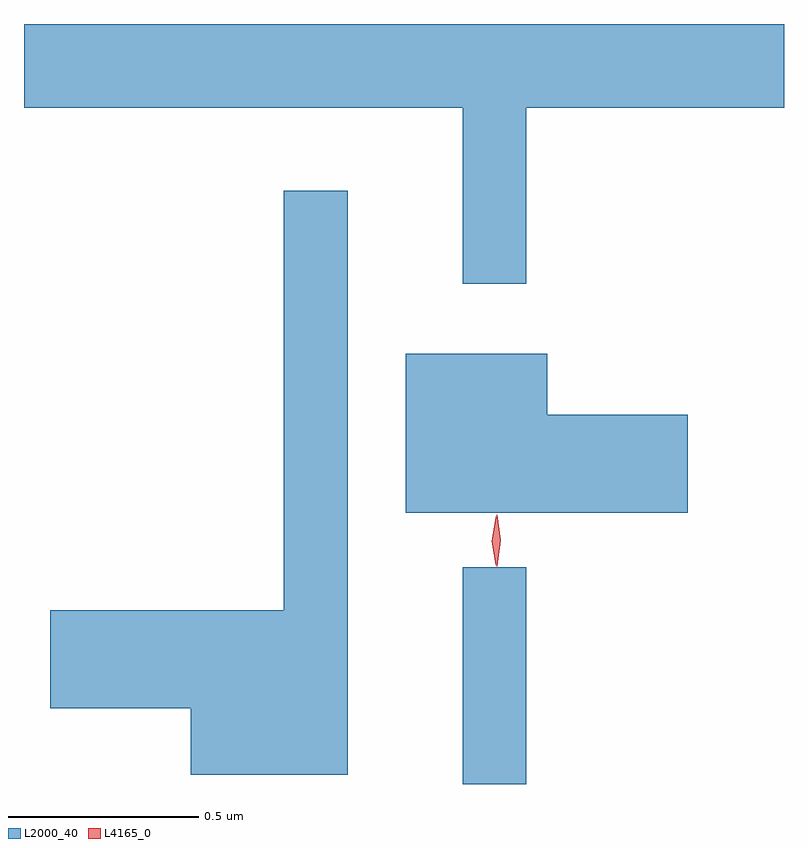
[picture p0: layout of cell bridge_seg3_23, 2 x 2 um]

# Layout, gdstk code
import gdstk
lib = gdstk.Library(unit=1e-6, precision=1e-09)
def R(c, l, rs):  # rectangles x0, y0, x1, y1
    for r in rs: c.add(gdstk.rectangle(r[:2], r[2:], *l))
def P(c, l, *ps):  # polygons
    for p in ps: c.add(gdstk.Polygon(p, *l))
L2000_40 = (2000, 40)
L4165_0 = (4165, 0)

bridge_seg3_23 = lib.new_cell('bridge_seg3_23')
R(bridge_seg3_23, L2000_40, [(1307.141,1177.517,1307.309,1178.088)])
P(bridge_seg3_23, L2000_40, [(1307.309,1179.296),(1307.987,1179.296),(1307.987,1179.517),(1305.987,1179.517),(1305.987,1179.296),(1307.141,1179.296),(1307.141,1178.833),(1307.309,1178.833)],
  [(1306.839,1179.078),(1306.671,1179.078),(1306.671,1177.974),(1306.056,1177.974),(1306.056,1177.716),(1306.426,1177.716),(1306.426,1177.541),(1306.839,1177.541)],
  [(1307.734,1178.489),(1307.364,1178.489),(1307.364,1178.649),(1306.991,1178.649),(1306.991,1178.231),(1307.734,1178.231)])
P(bridge_seg3_23, L4165_0, [(1307.231,1178.09),(1307.222,1178.158),(1307.231,1178.225),(1307.232,1178.226),(1307.232,1178.225),(1307.242,1178.158),(1307.232,1178.09),(1307.232,1178.09)],
  [(1307.228,1178.093),(1307.228,1178.093),(1307.218,1178.156),(1307.228,1178.219),(1307.228,1178.22),(1307.229,1178.219),(1307.238,1178.156),(1307.229,1178.093)])

lib.write_gds('bridge_seg3_23.gds')
